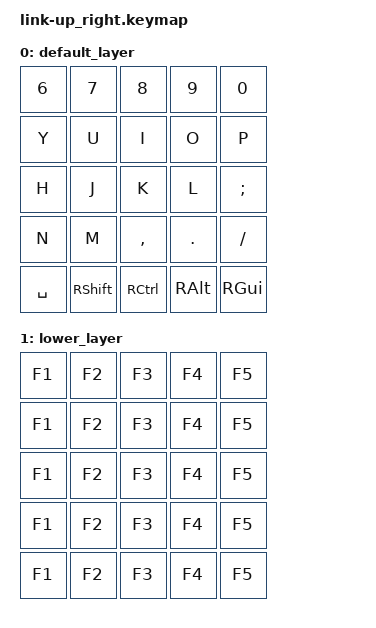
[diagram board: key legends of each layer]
/*
 * Copyright (c) 2021 The ZMK Contributors
 *
 * SPDX-License-Identifier: MIT
 */

#include <behaviors.dtsi>
#include <dt-bindings/zmk/keys.h>
#include <dt-bindings/zmk/bt.h>

/ {
        keymap {
                compatible = "zmk,keymap";

                default_layer {
// ----------------------------------------------------------------------------------
                        bindings = <
&kp N6    &kp N7    &kp N8   &kp N9   &kp N0   
&kp Y     &kp U     &kp I    &kp O    &kp P    
&kp H     &kp J     &kp K    &kp L    &kp SCLN 
&kp N     &kp M     &kp CMMA &kp DOT  &kp FSLH 
&kp SPACE &kp RSHFT &kp RCTL &kp RALT &kp RGUI   
                        >;
                };
                lower_layer {
// -----------------------------------------------------------------------------------------
                       bindings = <
&kp F1 &kp F2   &kp F3   &kp F4    &kp F5
&kp F1 &kp F2   &kp F3   &kp F4    &kp F5
&kp F1 &kp F2   &kp F3   &kp F4    &kp F5
&kp F1 &kp F2   &kp F3   &kp F4    &kp F5
&kp F1 &kp F2   &kp F3   &kp F4    &kp F5
                       >;
               };
        };
};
